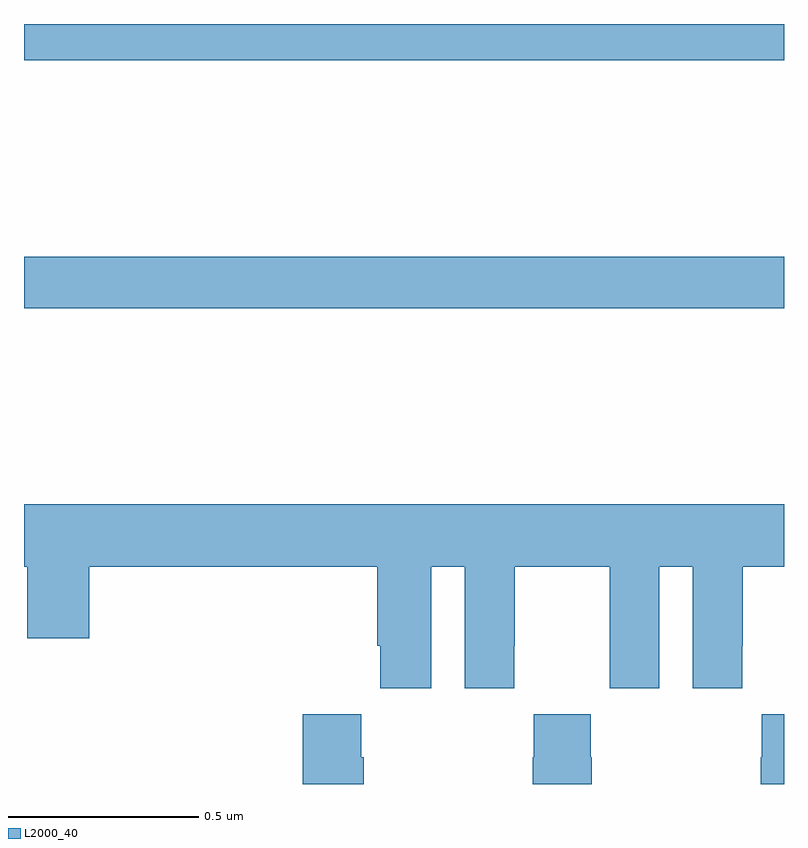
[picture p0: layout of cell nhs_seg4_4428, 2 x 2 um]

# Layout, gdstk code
import gdstk
lib = gdstk.Library(unit=1e-6, precision=1e-09)
def R(c, l, rs):  # rectangles x0, y0, x1, y1
    for r in rs: c.add(gdstk.rectangle(r[:2], r[2:], *l))
def P(c, l, *ps):  # polygons
    for p in ps: c.add(gdstk.Polygon(p, *l))
L2000_40 = (2000, 40)

nhs_seg4_4428 = lib.new_cell('nhs_seg4_4428')
R(nhs_seg4_4428, L2000_40, [(165,812.152,167,812.288), (165,812.804,167,812.9)])
P(nhs_seg4_4428, L2000_40, [(166.072,811.472),(166.16,811.472),(166.16,811.152),(166.29,811.152),(166.29,811.264),(166.291,811.264),(166.291,811.472),(166.541,811.472),(166.541,811.264),(166.542,811.264),(166.542,811.152),(166.672,811.152),(166.672,811.472),(166.76,811.472),(166.76,811.152),(166.89,811.152),(166.89,811.264),(166.891,811.264),(166.891,811.472),(167,811.472),(167,811.636),(165,811.636),(165,811.472),(165.008,811.472),(165.008,811.284),(165.172,811.284),(165.172,811.472),(165.929,811.472),(165.929,811.264),(165.938,811.264),(165.938,811.152),(166.072,811.152)],
  [(165.894,810.971),(165.887,810.971),(165.887,811.084),(165.734,811.084),(165.734,810.9),(165.894,810.9)],
  [(166.494,810.971),(166.491,810.971),(166.491,811.084),(166.341,811.084),(166.341,810.971),(166.339,810.971),(166.339,810.9),(166.494,810.9)],
  [(167,811.084),(166.941,811.084),(166.941,810.971),(166.939,810.971),(166.939,810.9),(167,810.9)])

lib.write_gds('nhs_seg4_4428.gds')
